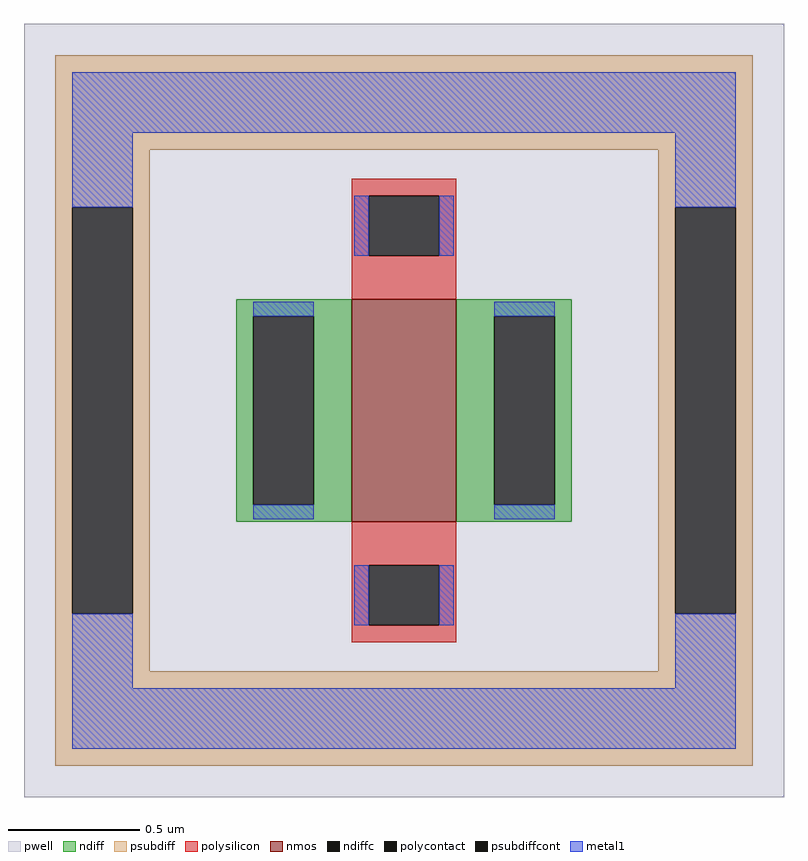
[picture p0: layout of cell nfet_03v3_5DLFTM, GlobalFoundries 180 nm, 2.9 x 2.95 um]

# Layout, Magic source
magic
tech gf180mcuD
magscale 1 10
<< pwell >>
rect -290 -295 290 295
<< nmos >>
rect -40 -85 40 85
<< ndiff >>
rect -128 72 -40 85
rect -128 -72 -115 72
rect -69 -72 -40 72
rect -128 -85 -40 -72
rect 40 72 128 85
rect 40 -72 69 72
rect 115 -72 128 72
rect 40 -85 128 -72
<< ndiffc >>
rect -115 -72 -69 72
rect 69 -72 115 72
<< psubdiff >>
rect -266 199 266 271
rect -266 155 -194 199
rect -266 -155 -253 155
rect -207 -155 -194 155
rect 194 155 266 199
rect -266 -199 -194 -155
rect 194 -155 207 155
rect 253 -155 266 155
rect 194 -199 266 -155
rect -266 -271 266 -199
<< psubdiffcont >>
rect -253 -155 -207 155
rect 207 -155 253 155
<< polysilicon >>
rect -40 164 40 177
rect -40 118 -27 164
rect 27 118 40 164
rect -40 85 40 118
rect -40 -118 40 -85
rect -40 -164 -27 -118
rect 27 -164 40 -118
rect -40 -177 40 -164
<< polycontact >>
rect -27 118 27 164
rect -27 -164 27 -118
<< metal1 >>
rect -253 212 253 258
rect -253 155 -207 212
rect -38 118 -27 164
rect 27 118 38 164
rect 207 155 253 212
rect -115 72 -69 83
rect -115 -83 -69 -72
rect 69 72 115 83
rect 69 -83 115 -72
rect -253 -212 -207 -155
rect -38 -164 -27 -118
rect 27 -164 38 -118
rect 207 -212 253 -155
rect -253 -258 253 -212
<< properties >>
string FIXED_BBOX -230 -235 230 235
string gencell nfet_03v3
string library gf180mcu
string parameters w 0.85 l 0.4 m 1 nf 1 diffcov 100 polycov 100 guard 1 glc 1 grc 1 gtc 0 gbc 0 tbcov 100 rlcov 100 topc 1 botc 1 poverlap 0 doverlap 1 lmin 0.28 wmin 0.22 class mosfet full_metal 1 compatible {nfet_03v3 nfet_06v0 nfet_06v0_nvt}
<< end >>
